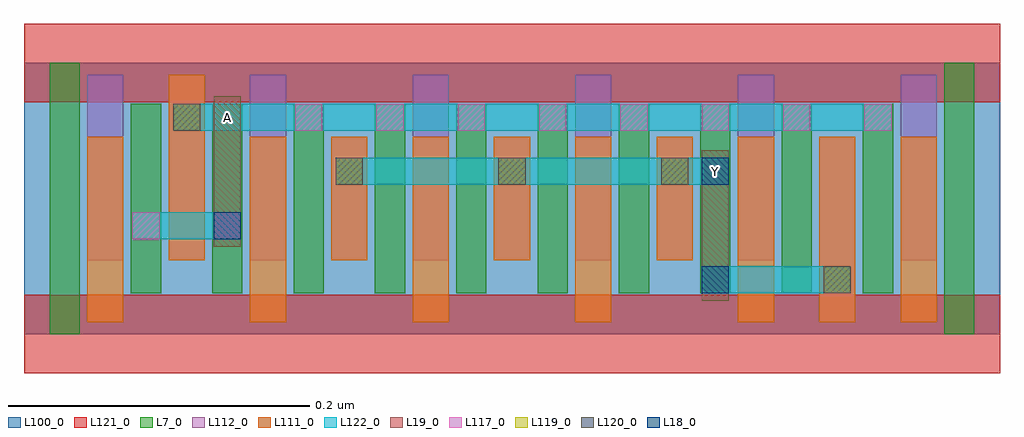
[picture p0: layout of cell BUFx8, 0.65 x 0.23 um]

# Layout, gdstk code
import gdstk
lib = gdstk.Library(unit=1e-6, precision=2.5e-10)
def R(c, l, rs):  # rectangles x0, y0, x1, y1
    for r in rs: c.add(gdstk.rectangle(r[:2], r[2:], *l))
def A(c, l, x, y, w, h, nx, ny, dx, dy):  # array of equal rectangles
    R(c, l, [(x+i*dx, y+j*dy, x+i*dx+w, y+j*dy+h) for i in range(nx) for j in range(ny)])
L7_0 = (7, 0)
L18_0 = (18, 0)
L19_0 = (19, 0)
L100_0 = (100, 0)
L111_0 = (111, 0)
L112_0 = (112, 0)
L117_0 = (117, 0)
L119_0 = (119, 0)
L120_0 = (120, 0)
L121_0 = (121, 0)
L122_0 = (122, 0)

bufx8 = lib.new_cell('BUFx8')
A(bufx8, L7_0, 0.071, 0.027, 0.02, 0.126, 10, 1, 0.054, 0)
R(bufx8, L7_0, [(0.017,0,0.037,0.18), (0.611,0,0.631,0.18)])
R(bufx8, L18_0, [(0.45,0.027,0.468,0.045), (0.126,0.063,0.144,0.081), (0.45,0.099,0.468,0.117)])
R(bufx8, L19_0, [(0.45,0.022,0.468,0.122), (0.126,0.058,0.144,0.158)])
R(bufx8, L100_0, [(0,0,0.648,0.18)])
A(bufx8, L111_0, 0.042, 0.008, 0.024, 0.123, 5, 1, 0.108, 0)
A(bufx8, L111_0, 0.204, 0.049, 0.024, 0.082, 3, 1, 0.108, 0)
R(bufx8, L111_0, [(0.528,0.008,0.552,0.131), (0.582,0.008,0.606,0.131), (0.096,0.049,0.12,0.172)])
A(bufx8, L112_0, 0.042, 0.049, 0.024, 0.123, 3, 1, 0.054, 0)
A(bufx8, L112_0, 0.204, 0.049, 0.024, 0.082, 3, 1, 0.108, 0)
A(bufx8, L112_0, 0.258, 0.049, 0.024, 0.123, 4, 1, 0.108, 0)
R(bufx8, L112_0, [(0.528,0.008,0.552,0.131)])
A(bufx8, L117_0, 0.18, 0.135, 0.018, 0.018, 8, 1, 0.054, 0)
R(bufx8, L117_0, [(0.072,0.063,0.09,0.081), (0.126,0.063,0.144,0.081)])
A(bufx8, L119_0, 0.207, 0.099, 0.018, 0.018, 3, 1, 0.108, 0)
R(bufx8, L119_0, [(0.531,0.027,0.549,0.045), (0.099,0.135,0.117,0.153)])
A(bufx8, L120_0, 0.207, 0.099, 0.018, 0.018, 3, 1, 0.108, 0)
R(bufx8, L120_0, [(0.531,0.027,0.549,0.045), (0.099,0.135,0.117,0.153)])
R(bufx8, L121_0, [(0,-0.026,0.648,0.026), (0,0.154,0.648,0.206)])
R(bufx8, L122_0, [(0.45,0.027,0.549,0.045), (0.072,0.063,0.144,0.081), (0.207,0.099,0.468,0.117), (0.099,0.135,0.576,0.153)])
bufx8.add(gdstk.Label('Y', (0.459,0.108), layer=19, texttype=251))
bufx8.add(gdstk.Label('A', (0.135,0.144), layer=19, texttype=251))

lib.write_gds('BUFx8.gds')
